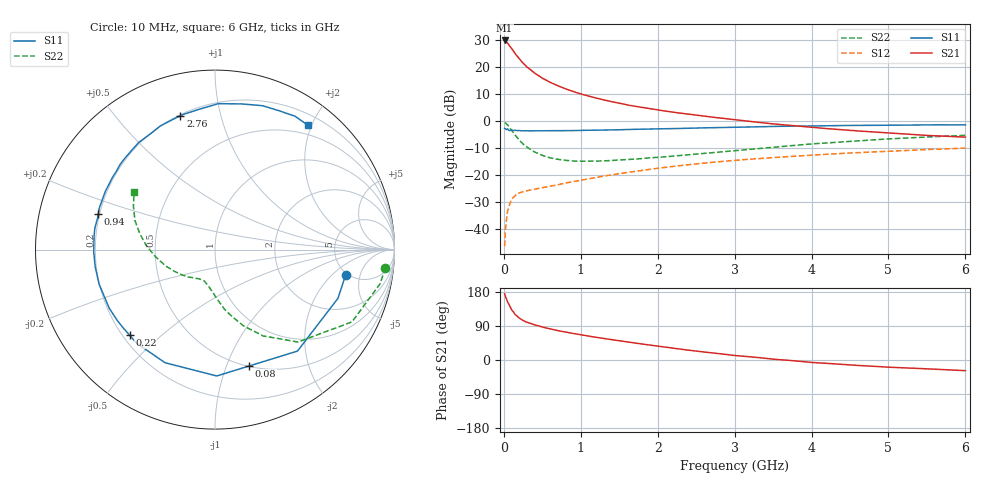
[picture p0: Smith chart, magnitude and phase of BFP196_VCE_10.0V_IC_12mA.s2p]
! Infineon Technologies  Discrete & RF Semiconductors
! BFP196
! VCE = 10.0V,  IC =  12mA
! Common Emitter S-Parameters:  Jan 2016
# GHz  S  MA  R  50
!  f  S11  S21  S12  S22
! GHz  MAG  ANG  MAG  ANG  MAG  ANG  MAG  ANG
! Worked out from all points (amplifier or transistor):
!   210 points, 10 MHz to 6 GHz, reference 50 ohm
!   highest |S21| = 30.0 dB at 10 MHz (marker M1)
!   |S21| within 3 dB of that: start of sweep to 103.2 MHz
!   unconditionally stable (mu >= 1): 875.3 MHz to 3.465 GHz; 3.584 GHz to 3.945 GHz
!   at 185 MHz: K = 0.33, MSG = 25.3 dB, |S12| = -26.7 dB
!   at 1.52 GHz: K = 1.13, MAG = 10.8 dB, |S12| = -19.3 dB
!   at 6 GHz: K = 0.96, MSG = 2.0 dB, |S12| = -9.9 dB
!   S11 on the Smith chart (normalised r, x): 10 MHz: 4.76, -3.02; 80 MHz: 0.50, -1.20; 220 MHz: 0.23, -0.40; 940 MHz: 0.19, +0.14; 2.76 GHz: 0.21, +0.75; 6 GHz: 0.35, +1.95
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0.01  0.7414 -11.1  31.67 174.6  0.0049 81.7  0.9547 -6.1
0.02  0.737 -21.6  30.67 167.9  0.0094 77.6  0.9394 -11.7
0.05  0.7286 -50.9  28.24 152.6  0.0223 65.5  0.863 -27.8
0.08  0.6758 -73.7  24.59 141.7  0.0305 55.0  0.7487 -38.9
0.1  0.7041 -89.2  22.77 132.7  0.0363 50.7  0.6922 -48.1
0.15  0.6891 -113.8  17.8 119.4  0.043 42.5  0.5507 -60.9
0.2  0.6801 -130.0  14.51 110.6  0.0475 37.7  0.4532 -69.5
0.22  0.6736 -135.0  13.49 108.3  0.0485 36.8  0.4238 -71.9
0.26  0.6725 -144.3  11.64 103.3  0.0504 35.4  0.3719 -77.0
0.3  0.6737 -151.0  10.21 99.5  0.0522 35.3  0.335 -81.1
0.4  0.6737 -163.3  7.869 92.6  0.0557 35.3  0.2715 -88.1
0.5  0.6743 -171.7  6.34 87.0  0.0594 36.4  0.2345 -93.7
0.7  0.6776 174.6  4.598 77.5  0.0671 39.6  0.1991 -102.5
0.94  0.6798 163.1  3.442 68.7  0.0786 42.4  0.1843 -109.5
1.02  0.6849 159.6  3.18 65.9  0.0823 43.1  0.1836 -111.8
1.4  0.6989 144.7  2.321 53.8  0.1025 44.7  0.1897 -121.7
2.02  0.7329 124.8  1.62 36.1  0.137 42.9  0.2171 -137.3
2.76  0.7704 104.5  1.181 17.6  0.1779 37.0  0.2682 -155.9
3.1  0.7858 96.8  1.039 10.2  0.1954 33.5  0.297 -164.1
4.1  0.8279 77.9  0.757 -7.6  0.242 23.1  0.3923 174.7
5.1  0.8542 63.9  0.6 -19.8  0.2853 12.3  0.4826 158.2
6  0.8649 53.2  0.513 -28.1  0.3205 2.2  0.5536 144.5
